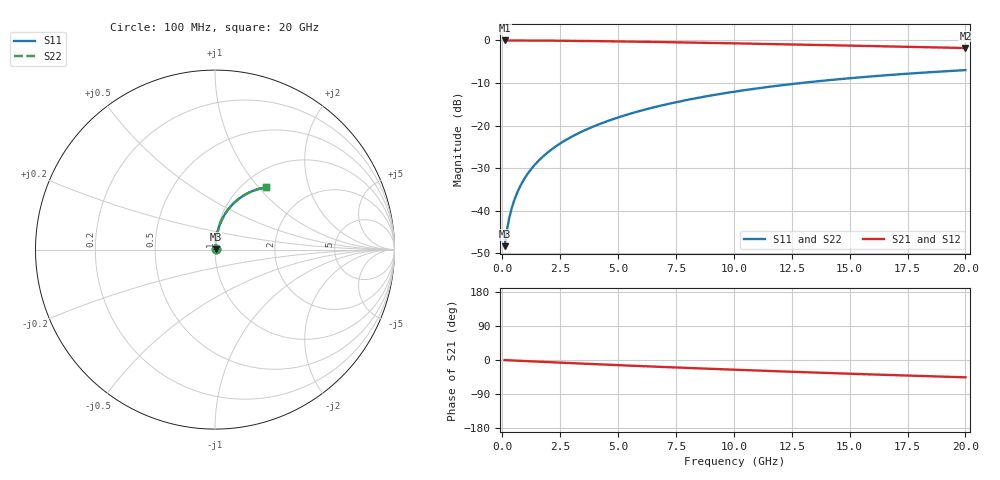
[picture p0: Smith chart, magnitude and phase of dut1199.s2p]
! Touchstone file exported from HFSS 2024.1.0
!  File:  C:/UserFiles/LocalFiles/RDL_TSV_Batchsim/temp_RDL_bottom_1199_1780057988.aedt
!  Generated:  08:35:09 PM May 29, 2026
!  Design:  RDL_bottom
!  Project:  temp_RDL_bottom_1199_1780057988
!  Setup:  Setup1
!  Solution:  Sweep
! Variables:
!  dtsv = 10.80580581um
!  hbump = 3um
!  htsv = 63.14um
!  ldown = 615.79um
!  lrdl = 100um
!  p = 40
!  p1 = 58.01um
!  rhole = 1um
!  t = 450um
!  tdown = 4.14um
!  trdl = 3.915915916um
!  wdown = 19.66um
!  wrdl = 20um
# GHz S MA R 50.000000
! Terminal data exported
! Port[1] = RDL1_T1
! Port[2] = RDL1_T2
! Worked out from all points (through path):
!   200 points, 100 MHz to 20 GHz, reference 50 ohm
!   highest |S21| = -0.02 dB at 100 MHz (marker M1); lowest = -1.8 dB at 20 GHz (marker M2)
!   group delay of S21, straight-line fit = 6.31 ps
!   lowest |S11| = -48.3 dB at 100 MHz (marker M3), VSWR 1.01, Z = 50.3 + j0.262 ohm
!   |S11| at or under -10 dB: start of sweep to 12.92 GHz
!   |S22| runs from -48.3 to -7.0 dB; largest |S21 - S12| = 7.4e-15
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0.1  0.003848 42.7  0.9972 -0.3  0.9972 -0.3  0.003848 42.7
! Gamma 0 0 0 0
! Port Impedance 50 0 50 0
0.2  0.005939 60.1  0.997 -0.6  0.997 -0.6  0.005939 60.1
0.3  0.00823 67.8  0.9968 -0.9  0.9968 -0.9  0.00823 67.8
0.4  0.01056 72.2  0.9967 -1.1  0.9967 -1.1  0.01056 72.2
0.5  0.01292 74.9  0.9965 -1.4  0.9965 -1.4  0.01292 74.9
0.6  0.01529 76.9  0.9963 -1.7  0.9963 -1.7  0.01529 76.9
0.8  0.02007 79.4  0.996 -2.3  0.996 -2.3  0.02007 79.4
1.1  0.02732 81.4  0.9953 -3.1  0.9953 -3.1  0.02732 81.4
1.5  0.03706 82.6  0.9941 -4.2  0.9941 -4.2  0.03706 82.6
1.8  0.04441 83.0  0.993 -5.0  0.993 -5.0  0.04441 83.0
2.1  0.0518 83.1  0.9917 -5.9  0.9917 -5.9  0.0518 83.1
2.7  0.06665 83.0  0.9887 -7.5  0.9887 -7.5  0.06666 83.0
3.5  0.08664 82.3  0.9837 -9.7  0.9837 -9.7  0.08664 82.3
4.2  0.1043 81.5  0.9786 -11.5  0.9786 -11.5  0.1043 81.5
5  0.1245 80.3  0.9721 -13.6  0.9721 -13.6  0.1245 80.3
5.9  0.1474 78.8  0.9641 -15.9  0.9641 -15.9  0.1474 78.8
6.8  0.1703 77.1  0.9556 -18.1  0.9556 -18.1  0.1703 77.1
8.4  0.2104 74.0  0.9396 -21.9  0.9396 -21.9  0.2104 74.0
10.1  0.2518 70.4  0.9216 -25.8  0.9216 -25.8  0.2519 70.4
13.4  0.3265 63.5  0.8853 -32.9  0.8853 -32.9  0.3265 63.5
16.7  0.3919 56.9  0.8486 -39.6  0.8486 -39.6  0.392 56.9
20  0.4475 50.7  0.8127 -45.7  0.8127 -45.7  0.4476 50.7
